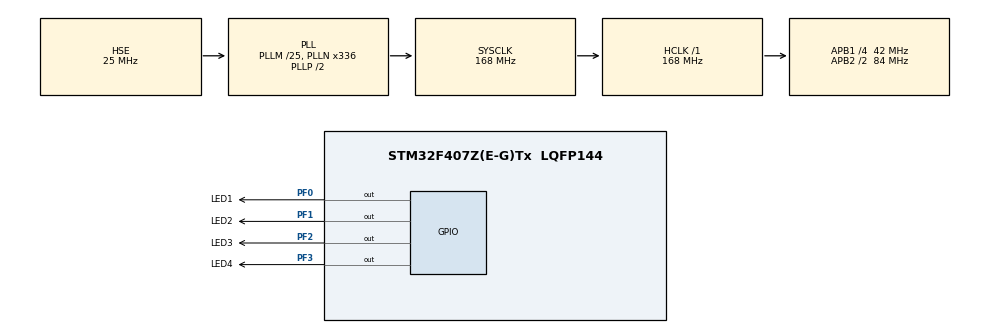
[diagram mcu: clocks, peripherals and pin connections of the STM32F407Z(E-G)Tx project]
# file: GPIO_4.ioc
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Mcu.Family=STM32F4
Mcu.Name=STM32F407Z(E-G)Tx
Mcu.Package=LQFP144
NVIC.PriorityGroup=NVIC_PRIORITYGROUP_4
PF0.GPIO_Label=LED1
PF0.PinState=GPIO_PIN_SET
PF0.Signal=GPIO_Output
PF1.GPIO_Label=LED2
PF1.PinState=GPIO_PIN_SET
PF1.Signal=GPIO_Output
PF2.GPIO_Label=LED3
PF2.PinState=GPIO_PIN_SET
PF2.Signal=GPIO_Output
PF3.GPIO_Label=LED4
PF3.PinState=GPIO_PIN_SET
PF3.Signal=GPIO_Output
PH0-OSC_IN.Mode=HSE-External-Oscillator
PH0-OSC_IN.Signal=RCC_OSC_IN
PH1-OSC_OUT.Mode=HSE-External-Oscillator
PH1-OSC_OUT.Signal=RCC_OSC_OUT
ProjectManager.HeapSize=0x200
ProjectManager.StackSize=0x400
ProjectManager.TargetToolchain=STM32CubeIDE
RCC.48MHZClocksFreq_Value=84000000
RCC.AHBFreq_Value=168000000
RCC.APB1CLKDivider=RCC_HCLK_DIV4
RCC.APB1Freq_Value=42000000
RCC.APB1TimFreq_Value=84000000
RCC.APB2CLKDivider=RCC_HCLK_DIV2
RCC.APB2Freq_Value=84000000
RCC.APB2TimFreq_Value=168000000
RCC.CortexFreq_Value=168000000
RCC.HCLKFreq_Value=168000000
RCC.HSE_VALUE=25000000
RCC.HSI_VALUE=16000000
RCC.LSE_VALUE=32768
RCC.PLLM=25
RCC.PLLN=336
RCC.PLLSourceVirtual=RCC_PLLSOURCE_HSE
RCC.SYSCLKFreq_VALUE=168000000
RCC.SYSCLKSource=RCC_SYSCLKSOURCE_PLLCLK
RCC.VCOOutputFreq_Value=336000000
board=custom

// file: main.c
/* USER CODE BEGIN Header */
/**
  ******************************************************************************
  * @file           : main.c
  * @brief          : Main program body
  ******************************************************************************
  * @attention
  *
  * Copyright (c) 2022 STMicroelectronics.
  * All rights reserved.
  *
  * This software is licensed under terms that can be found in the LICENSE file
  * in the root directory of this software component.
  * If no LICENSE file comes with this software, it is provided AS-IS.
  *
  ******************************************************************************
  */
/* USER CODE END Header */
#include "main.h"
#include "gpio.h"

void SystemClock_Config(void);

int main(void)
{

  /* MCU Configuration--------------------------------------------------------*/

  /* Reset of all peripherals, Initializes the Flash interface and the Systick. */
  HAL_Init();

  /* Configure the system clock */
  SystemClock_Config();

  /* Initialize all configured peripherals */
  MX_GPIO_Init();

  /* Infinite loop */
  while (1)
  {

    /* USER CODE BEGIN 3 */
	  HAL_Delay(100);
	  HAL_GPIO_TogglePin(GPIOF, GPIO_PIN_0);
	  HAL_Delay(100);
	  HAL_GPIO_TogglePin(GPIOF, GPIO_PIN_1);
	  HAL_Delay(100);
	  HAL_GPIO_TogglePin(GPIOF, GPIO_PIN_2);
	  HAL_Delay(100);
	  HAL_GPIO_TogglePin(GPIOF, GPIO_PIN_3);
	  HAL_Delay(100);
	  HAL_GPIO_TogglePin(GPIOF, GPIO_PIN_3);
	  HAL_Delay(100);
	  HAL_GPIO_TogglePin(GPIOF, GPIO_PIN_2);
	  HAL_Delay(100);
	  HAL_GPIO_TogglePin(GPIOF, GPIO_PIN_1);
	  HAL_Delay(100);
	  HAL_GPIO_TogglePin(GPIOF, GPIO_PIN_0);

  }
  /* USER CODE END 3 */
}

void SystemClock_Config(void)
{
  RCC_OscInitTypeDef RCC_OscInitStruct = {0};
  RCC_ClkInitTypeDef RCC_ClkInitStruct = {0};

  /** Configure the main internal regulator output voltage
  */
  __HAL_RCC_PWR_CLK_ENABLE();
  __HAL_PWR_VOLTAGESCALING_CONFIG(PWR_REGULATOR_VOLTAGE_SCALE1);

  /** Initializes the RCC Oscillators according to the specified parameters
  * in the RCC_OscInitTypeDef structure.
  */
  RCC_OscInitStruct.OscillatorType = RCC_OSCILLATORTYPE_HSE;
  RCC_OscInitStruct.HSEState = RCC_HSE_ON;
  RCC_OscInitStruct.PLL.PLLState = RCC_PLL_ON;
  RCC_OscInitStruct.PLL.PLLSource = RCC_PLLSOURCE_HSE;
  RCC_OscInitStruct.PLL.PLLM = 25;
  RCC_OscInitStruct.PLL.PLLN = 336;
  RCC_OscInitStruct.PLL.PLLP = RCC_PLLP_DIV2;
  RCC_OscInitStruct.PLL.PLLQ = 4;
  if (HAL_RCC_OscConfig(&RCC_OscInitStruct) != HAL_OK)
  {
    Error_Handler();
  }

  /** Initializes the CPU, AHB and APB buses clocks
  */
  RCC_ClkInitStruct.ClockType = RCC_CLOCKTYPE_HCLK|RCC_CLOCKTYPE_SYSCLK
                              |RCC_CLOCKTYPE_PCLK1|RCC_CLOCKTYPE_PCLK2;
  RCC_ClkInitStruct.SYSCLKSource = RCC_SYSCLKSOURCE_PLLCLK;
  RCC_ClkInitStruct.AHBCLKDivider = RCC_SYSCLK_DIV1;
  RCC_ClkInitStruct.APB1CLKDivider = RCC_HCLK_DIV4;
  RCC_ClkInitStruct.APB2CLKDivider = RCC_HCLK_DIV2;

  if (HAL_RCC_ClockConfig(&RCC_ClkInitStruct, FLASH_LATENCY_5) != HAL_OK)
  {
    Error_Handler();
  }
}

void Error_Handler(void)
{
  __disable_irq();
  while (1)
  {
  }
}
